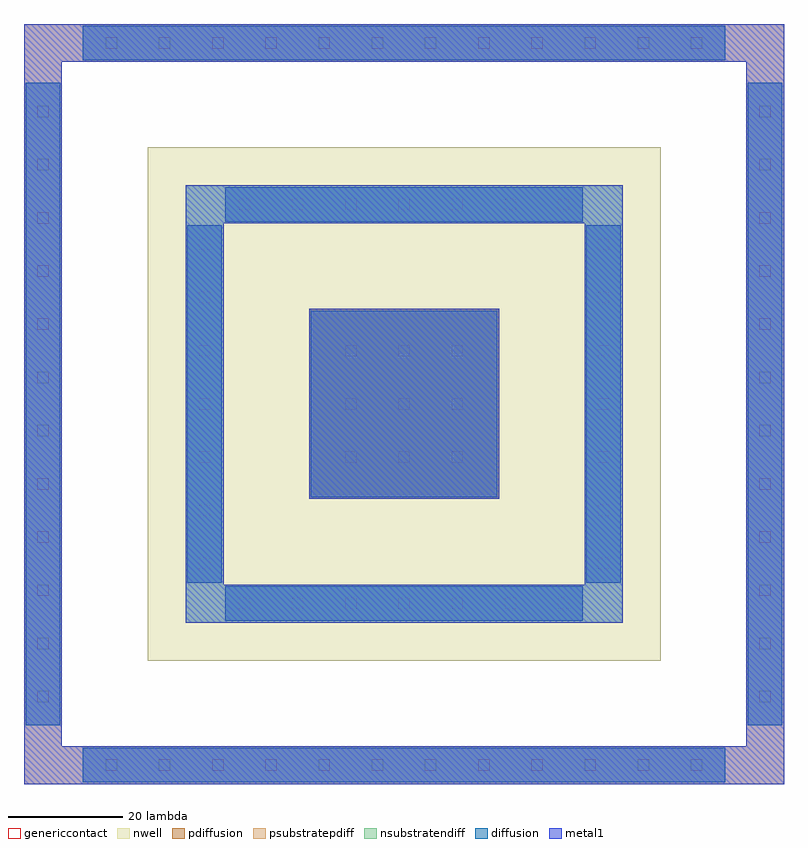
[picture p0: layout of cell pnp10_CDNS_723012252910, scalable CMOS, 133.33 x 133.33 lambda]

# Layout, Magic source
magic
tech scmos
magscale 1 3
<< nwell >>
rect 110 110 380 380
<< pdiffusion >>
rect 195 195 295 295
<< psubstratepdiff >>
rect 45 425 445 445
rect 45 65 65 425
rect 425 65 445 425
rect 45 45 445 65
<< nsubstratendiff >>
rect 130 340 360 360
rect 130 150 150 340
rect 340 150 360 340
rect 130 130 360 150
<< metal1 >>
rect 45 425 445 445
rect 45 65 65 425
rect 130 340 360 360
rect 130 150 150 340
rect 195 195 295 295
rect 340 150 360 340
rect 130 130 360 150
rect 425 65 445 425
rect 45 45 445 65
use ntap_CDNS_723012252911  ntap_CDNS_723012252911_0
transform 1 0 336 0 1 146
box 4 4 24 194
use ntap_CDNS_723012252911  ntap_CDNS_723012252911_1
transform 0 1 146 1 0 126
box 4 4 24 194
use ntap_CDNS_723012252911  ntap_CDNS_723012252911_2
transform 0 1 146 1 0 336
box 4 4 24 194
use ntap_CDNS_723012252911  ntap_CDNS_723012252911_3
transform 1 0 126 0 1 146
box 4 4 24 194
use ptap_CDNS_723012252912  ptap_CDNS_723012252912_0
transform 0 1 71 1 0 41
box 4 4 24 344
use ptap_CDNS_723012252912  ptap_CDNS_723012252912_1
transform 1 0 421 0 1 71
box 4 4 24 344
use ptap_CDNS_723012252912  ptap_CDNS_723012252912_2
transform 1 0 41 0 1 71
box 4 4 24 344
use ptap_CDNS_723012252912  ptap_CDNS_723012252912_3
transform 0 1 71 1 0 421
box 4 4 24 344
use ptap_CDNS_723012252913  ptap_CDNS_723012252913_0
transform 1 0 191 0 1 191
box 4 4 104 104
<< end >>

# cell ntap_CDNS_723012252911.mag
magic
tech scmos
magscale 1 3
<< diffusion >>
rect 5 5 23 193
<< genericcontact >>
rect 11 180 17 186
rect 11 152 17 158
rect 11 124 17 130
rect 11 96 17 102
rect 11 68 17 74
rect 11 40 17 46
rect 11 12 17 18
<< metal1 >>
rect 4 4 24 194
<< end >>

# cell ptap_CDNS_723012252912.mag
magic
tech scmos
magscale 1 3
<< diffusion >>
rect 5 5 23 343
<< genericcontact >>
rect 11 325 17 331
rect 11 297 17 303
rect 11 269 17 275
rect 11 241 17 247
rect 11 213 17 219
rect 11 185 17 191
rect 11 157 17 163
rect 11 129 17 135
rect 11 101 17 107
rect 11 73 17 79
rect 11 45 17 51
rect 11 17 17 23
<< metal1 >>
rect 4 4 24 344
<< end >>

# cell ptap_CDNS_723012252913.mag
magic
tech scmos
magscale 1 3
<< diffusion >>
rect 5 5 103 103
<< genericcontact >>
rect 23 79 29 85
rect 51 79 57 85
rect 79 79 85 85
rect 23 51 29 57
rect 51 51 57 57
rect 79 51 85 57
rect 23 23 29 29
rect 51 23 57 29
rect 79 23 85 29
<< metal1 >>
rect 4 4 104 104
<< end >>
